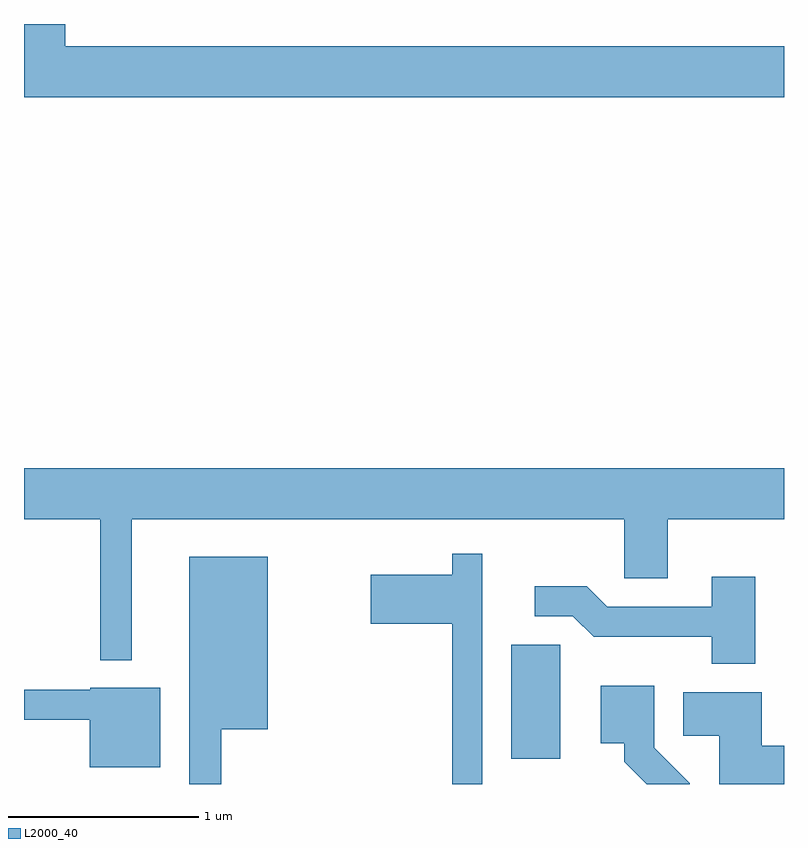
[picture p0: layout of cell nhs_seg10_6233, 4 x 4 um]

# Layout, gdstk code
import gdstk
lib = gdstk.Library(unit=1e-6, precision=1e-09)
def R(c, l, rs):  # rectangles x0, y0, x1, y1
    for r in rs: c.add(gdstk.rectangle(r[:2], r[2:], *l))
def P(c, l, *ps):  # polygons
    for p in ps: c.add(gdstk.Polygon(p, *l))
L2000_40 = (2000, 40)

nhs_seg10_6233 = lib.new_cell('nhs_seg10_6233')
R(nhs_seg10_6233, L2000_40, [(372.176,2112.656,372.434,2113.254)])
P(nhs_seg10_6233, L2000_40, [(373.611,2116.404),(369.829,2116.404),(369.829,2116.522),(369.611,2116.522),(369.611,2116.136),(373.611,2116.136)],
  [(370.179,2113.916),(372.771,2113.916),(372.771,2113.606),(372.999,2113.606),(372.999,2113.916),(373.611,2113.916),(373.611,2114.184),(369.611,2114.184),(369.611,2113.916),(370.011,2113.916),(370.011,2113.173),(370.179,2113.173)],
  [(372.024,2113.733),(371.866,2113.733),(371.866,2113.624),(371.436,2113.624),(371.436,2113.366),(371.866,2113.366),(371.866,2112.522),(372.024,2112.522)],
  [(370.649,2112.811),(370.894,2112.811),(370.894,2113.719),(370.481,2113.719),(370.481,2112.522),(370.649,2112.522)],
  [(373.459,2113.614),(373.231,2113.614),(373.231,2113.454),(372.682,2113.454),(372.572,2113.564),(372.298,2113.564),(372.298,2113.406),(372.499,2113.406),(372.609,2113.296),(373.231,2113.296),(373.231,2113.156),(373.459,2113.156)],
  [(373.114,2112.527),(372.929,2112.712),(372.929,2113.039),(372.646,2113.039),(372.646,2112.736),(372.771,2112.736),(372.771,2112.639),(372.888,2112.522),(373.114,2112.522)],
  [(370.329,2113.029),(369.96,2113.029),(369.96,2113.019),(369.611,2113.019),(369.611,2112.861),(369.956,2112.861),(369.956,2112.611),(370.329,2112.611)],
  [(373.611,2112.724),(373.494,2112.724),(373.494,2113.004),(373.081,2113.004),(373.081,2112.776),(373.271,2112.776),(373.271,2112.522),(373.611,2112.522)])

lib.write_gds('nhs_seg10_6233.gds')
